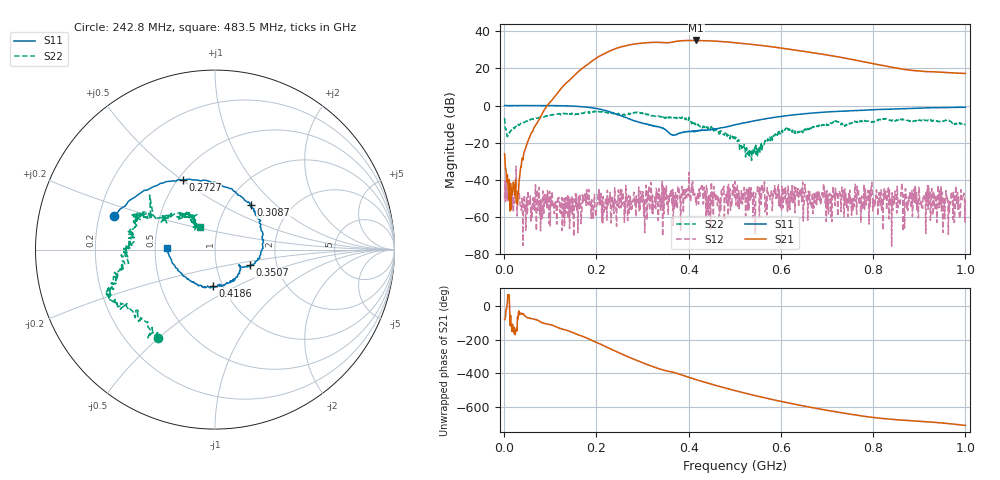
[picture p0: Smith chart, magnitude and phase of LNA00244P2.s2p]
! Created with skrf 1.9.0 (http://scikit-rf.org).
# Hz S RI R 50.0
!freq ReS11 ImS11 ReS21 ImS21 ReS12 ImS12 ReS22 ImS22
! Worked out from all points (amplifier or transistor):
!   1001 points, 1 MHz to 1 GHz, reference 50 ohm
!   highest |S21| = 35.0 dB at 416.6 MHz (marker M1)
!   |S21| within 3 dB of that: 260.8 MHz to 566.3 MHz (305.6 MHz wide, 73.9 % of centre)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
!   unconditionally stable (mu >= 1): start of sweep to 67.92 MHz; 291.8 MHz to 400.3 MHz; 401.1 MHz to end of sweep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
!   at 166.8 MHz: K = 6.88, MAG = 30.1 dB, |S12| = -63.5 dB
!   at 500.5 MHz: K = 1.25, MAG = 34.3 dB, |S12| = -40.9 dB
!   at 1 GHz: K = 3.93, MAG = 24.6 dB, |S12| = -49.7 dB
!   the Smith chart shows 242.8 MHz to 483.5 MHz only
!   S11 on the Smith chart (normalised r, x): 242.8 MHz: 0.26, +0.15; 272.7 MHz: 0.53, +0.50; 308.7 MHz: 1.28, +0.70; 350.6 MHz: 1.46, -0.27; 418.6 MHz: 0.90, -0.38; 483.5 MHz: 0.58, +0.01
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1000000  0.9944 0.0156  0.00834 -0.0494  -0.00295 -0.00141  0.3355 0.3156
1.07893e8  0.5188 -0.8496  -0.746 -1.447  0.00174 4.07e-05  0.4222 -0.3838
1.67833e8  -0.2621 -0.8935  -9.646 -0.4384  0.00119 -0.000465  0.0193 -0.6209
2.09791e8  -0.693 -0.3608  -15.1 16.34  0.000479 -0.00433  -0.2213 -0.6479
2.42758e8  -0.5614 0.1865  -0.1131 34.06  -0.000853 0.000862  -0.3149 -0.4923
2.72728e8  -0.1804 0.3884  25.24 34.79  -0.00194 -0.000869  -0.5273 -0.3027
3.08692e8  0.1996 0.2468  47.42 11.6  -0.000349 0.00446  -0.5413 -0.1478
3.34666e8  0.2653 0.0206  48.7 -10.05  -7.12e-05 0.00106  -0.5169 -0.041
3.5065e8  0.1967 -0.0878  44.29 -20.32  0.00276 0.000906  -0.4795 0.0454
3.79621e8  0.1434 -0.1073  38.27 -38.34  -0.00431 0.00309  -0.4413 0.1816
4.16584e8  0.00433 -0.2067  11.31 -54.89  -0.000887 0.00192  -0.262 0.1825
4.18582e8  -0.0106 -0.2028  9.866 -54.7  0.00305 -0.000562  -0.2598 0.1896
4.49551e8  -0.1678 -0.1498  -14.09 -52.34  0.00689 0.00512  -0.1775 0.1992
4.83517e8  -0.2693 0.00646  -33.53 -38.62  0.00456 0.000597  -0.0846 0.1233
5.005e8  -0.2793 0.1126  -39.19 -29.42  0.00758 -0.00487  -0.1044 0.0718
5.4046e8  -0.2076 0.3209  -42.66 -7.353  0.0045 -0.00132  -0.0499 0.0131
5.88412e8  0.0037 0.4855  -34.32 12.93  0.00295 -0.00542  -0.1423 -0.0946
6.25375e8  0.184 0.5264  -23.5 20.98  -0.00154 -0.00159  -0.1785 -0.1233
6.67333e8  0.3887 0.4906  -11.38 23.64  -0.000111 -0.00185  -0.2555 -0.0267
7.47253e8  0.6499 0.2987  3.709 17.57  -0.00428 -0.000324  -0.3182 0.0625
8.34166e8  0.7962 0.0276  7.514 8.149  -0.000803 0.000394  -0.3603 0.1829
1e9  0.7248 -0.5297  7.204 1.174  -0.00295 -0.00141  -0.0392 0.3093
